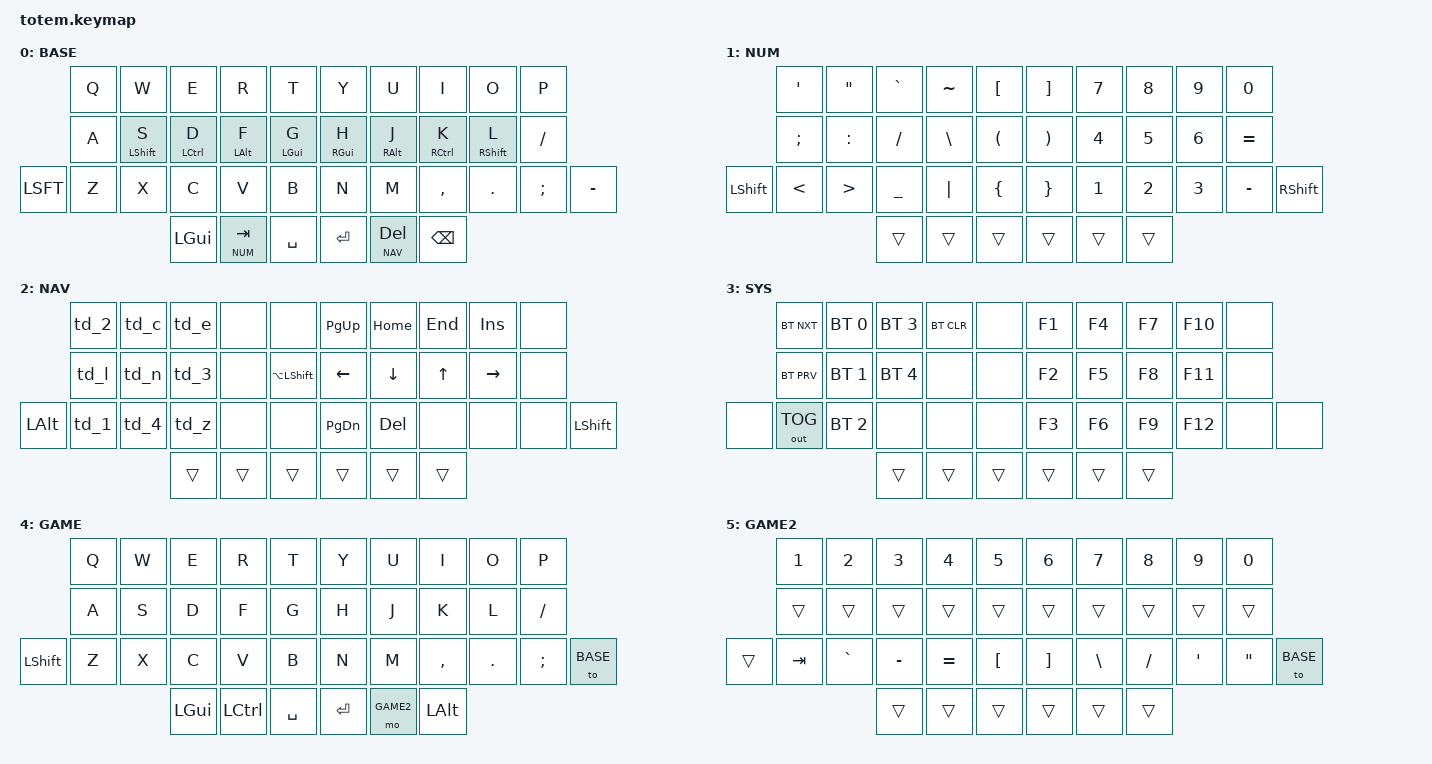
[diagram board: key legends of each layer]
//                                                        ▀▀▀▀▀     ▀▀▀▀▀          ▀▀█▀▀
//                                                        ▄▀▀▀▄  ▄  ▄▀▀▀▄  ▄  ▄▀▀▀▄  █  ▄▀▀▀▄
//                                                        █   █  █  █   █  █  █   █  █  █   █
//                                                         ▀▀▀   █   ▀▀▀   █   ▀▀▀   ▀   ▀▀▀
//                                                               █      ▄▄▄█▄▄▄    █   █  
//                                                               ▀      █  █  █     █▄█
//                                                             ▀▀▀▀▀    █  █  █      ▀
//                                                                      ▀  ▀  ▀
//
// ▄▄▄▄▄▄▄▄▄▄▄▄▄▄▄▄▄▄▄▄▄▄▄▄▄▄▄▄▄▄▄▄▄▄▄▄▄▄▄▄▄▄▄▄▄▄▄▄▄▄▄▄▄▄▄▄▄▄▄▄▄▄▄▄▄▄▄▄▄▄▄▄▄▄▄▄▄▄▄▄▄▄▄▄▄▄▄▄▄▄▄▄▄▄▄▄▄▄▄▄▄▄▄▄▄▄▄▄▄▄▄▄▄▄▄▄▄▄▄▄▄▄▄▄▄▄▄▄▄▄▄▄▄▄▄▄▄▄▄▄▄▄▄▄▄▄▄▄▄

#include <behaviors.dtsi>
#include <dt-bindings/zmk/bt.h>
#include <dt-bindings/zmk/keys.h>
#include <dt-bindings/zmk/modifiers.h>
#include <dt-bindings/zmk/outputs.h>

#define BASE 0
#define NUM  1
#define NAV  2
#define SYS  3
#define GAME 4
#define GAME2 5

#define LEFT_HAND_KEYS  0 1 2 3 4 10 11 12 13 14 20 21 22 23 24 25 32 33 34
#define RIGHT_HAND_KEYS 5 6 7 8 9 15 16 17 18 19 26 27 28 29 30 31 35 36 37
#define SHIFT_MODS (MOD_LSFT|MOD_RSFT)

&mt {
    quick-tap-ms = <100>;
    require-prior-idle-ms = <150>;
    flavor = "tap-preferred";
    tapping-term-ms = <170>;
};

/ {
    behaviors {
        // --- Makros ---

        macss: macss {
            compatible = "zmk,behavior-macro";
            bindings = <&kp RA(N4)>;
            #binding-cells = <0>;
        };

        macae: macae {
            compatible = "zmk,behavior-macro";
            #binding-cells = <0>;
            bindings = <&kp LA(U) &kp A>;
        };

        macaeupper: macaeupper {
            compatible = "zmk,behavior-macro";
            #binding-cells = <0>;
            bindings = <&kp LA(U) &kp LS(A)>;
        };

        macue: macue {
            compatible = "zmk,behavior-macro";
            #binding-cells = <0>;
            bindings = <&kp LA(U) &kp U>;
        };

        macueupper: macueupper {
            compatible = "zmk,behavior-macro";
            #binding-cells = <0>;
            bindings = <&kp LA(U) &kp LS(U)>;
        };

        macoe: macoe {
            compatible = "zmk,behavior-macro";
            #binding-cells = <0>;
            bindings = <&kp LA(U) &kp O>;
        };

        macoeupper: macoeupper {
            compatible = "zmk,behavior-macro";
            #binding-cells = <0>;
            bindings = <&kp LA(U) &kp LS(O)>;
        };

        // Shift-aware special-character outputs.

        mm_pl_a: mod_morph_pl_a {
            compatible = "zmk,behavior-mod-morph";
            #binding-cells = <0>;
            bindings = <&kp RA(A)>, <&kp LS(RA(A))>;
            mods = <SHIFT_MODS>;
        };

        mm_pl_c: mod_morph_pl_c {
            compatible = "zmk,behavior-mod-morph";
            #binding-cells = <0>;
            bindings = <&kp RA(C)>, <&kp LS(RA(C))>;
            mods = <SHIFT_MODS>;
        };

        mm_pl_e: mod_morph_pl_e {
            compatible = "zmk,behavior-mod-morph";
            #binding-cells = <0>;
            bindings = <&kp RA(E)>, <&kp LS(RA(E))>;
            mods = <SHIFT_MODS>;
        };

        mm_pl_l: mod_morph_pl_l {
            compatible = "zmk,behavior-mod-morph";
            #binding-cells = <0>;
            bindings = <&kp RA(L)>, <&kp LS(RA(L))>;
            mods = <SHIFT_MODS>;
        };

        mm_pl_n: mod_morph_pl_n {
            compatible = "zmk,behavior-mod-morph";
            #binding-cells = <0>;
            bindings = <&kp RA(N)>, <&kp LS(RA(N))>;
            mods = <SHIFT_MODS>;
        };

        mm_pl_o: mod_morph_pl_o {
            compatible = "zmk,behavior-mod-morph";
            #binding-cells = <0>;
            bindings = <&kp RA(O)>, <&kp LS(RA(O))>;
            mods = <SHIFT_MODS>;
        };

        mm_pl_s: mod_morph_pl_s {
            compatible = "zmk,behavior-mod-morph";
            #binding-cells = <0>;
            bindings = <&kp RA(S)>, <&kp LS(RA(S))>;
            mods = <SHIFT_MODS>;
        };

        mm_pl_z_dot: mod_morph_pl_z_dot {
            compatible = "zmk,behavior-mod-morph";
            #binding-cells = <0>;
            bindings = <&kp RA(Z)>, <&kp LS(RA(Z))>;
            mods = <SHIFT_MODS>;
        };

        mm_pl_z_acute: mod_morph_pl_z_acute {
            compatible = "zmk,behavior-mod-morph";
            #binding-cells = <0>;
            bindings = <&kp RA(X)>, <&kp LS(RA(X))>;
            mods = <SHIFT_MODS>;
        };

        mm_de_ae: mod_morph_de_ae {
            compatible = "zmk,behavior-mod-morph";
            #binding-cells = <0>;
            bindings = <&macae>, <&macaeupper>;
            mods = <SHIFT_MODS>;
        };

        mm_de_oe: mod_morph_de_oe {
            compatible = "zmk,behavior-mod-morph";
            #binding-cells = <0>;
            bindings = <&macoe>, <&macoeupper>;
            mods = <SHIFT_MODS>;
        };

        mm_de_ue: mod_morph_de_ue {
            compatible = "zmk,behavior-mod-morph";
            #binding-cells = <0>;
            bindings = <&macue>, <&macueupper>;
            mods = <SHIFT_MODS>;
        };

        mm_de_ss: mod_morph_de_ss {
            compatible = "zmk,behavior-mod-morph";
            #binding-cells = <0>;
            bindings = <&macss>, <&macss>;
            mods = <SHIFT_MODS>;
        };


        // --- Tap Dance ---

        td_1: behavior_tap_dance1 {
            compatible = "zmk,behavior-tap-dance";
            tapping-term-ms = <170>;
            #binding-cells = <0>;
            bindings = <&kp S>, <&mm_pl_s>, <&mm_de_ss>;
        };

        td_2: behavior_tap_dance2 {
            compatible = "zmk,behavior-tap-dance";
            tapping-term-ms = <170>;
            bindings = <&kp A>, <&mm_pl_a>, <&mm_de_ae>;

            #binding-cells = <0>;
        };

        td_3: behavior_tap_dance3 {
            compatible = "zmk,behavior-tap-dance";
            tapping-term-ms = <170>;
            bindings = <&kp O>, <&mm_pl_o>, <&mm_de_oe>;

            #binding-cells = <0>;
        };

        td_4: behavior_tap_dance4 {
            compatible = "zmk,behavior-tap-dance";
            tapping-term-ms = <170>;
            bindings = <&kp U>, <&mm_de_ue>;

            #binding-cells = <0>;
        };

        td_c: behavior_tap_dance_c {
            compatible = "zmk,behavior-tap-dance";
            tapping-term-ms = <170>;
            #binding-cells = <0>;
            bindings = <&kp C>, <&mm_pl_c>;
        };

        td_e: behavior_tap_dance_e {
            compatible = "zmk,behavior-tap-dance";
            tapping-term-ms = <170>;
            #binding-cells = <0>;
            bindings = <&kp E>, <&mm_pl_e>;
        };

        td_l: behavior_tap_dance_l {
            compatible = "zmk,behavior-tap-dance";
            tapping-term-ms = <170>;
            #binding-cells = <0>;
            bindings = <&kp L>, <&mm_pl_l>;
        };

        td_n: behavior_tap_dance_n {
            compatible = "zmk,behavior-tap-dance";
            tapping-term-ms = <170>;
            #binding-cells = <0>;
            bindings = <&kp N>, <&mm_pl_n>;
        };

        td_z: behavior_tap_dance_z {
            compatible = "zmk,behavior-tap-dance";
            tapping-term-ms = <170>;
            #binding-cells = <0>;
            bindings = <&kp Z>, <&mm_pl_z_dot>, <&mm_pl_z_acute>;
        };

        hml: homerow_mod_left {
            compatible = "zmk,behavior-hold-tap";
            #binding-cells = <2>;
            quick-tap-ms = <175>;
            require-prior-idle-ms = <150>;
            flavor = "balanced";
            tapping-term-ms = <280>;
            bindings = <&kp>, <&kp>;
            hold-trigger-key-positions = <RIGHT_HAND_KEYS>;
            hold-trigger-on-release;
        };

        hmr: homerow_mod_right {
            compatible = "zmk,behavior-hold-tap";
            #binding-cells = <2>;
            quick-tap-ms = <175>;
            require-prior-idle-ms = <150>;
            flavor = "balanced";
            tapping-term-ms = <280>;
            bindings = <&kp>, <&kp>;
            hold-trigger-key-positions = <LEFT_HAND_KEYS>;
            hold-trigger-on-release;
        };

    };

    combos {
        compatible = "zmk,combos";

        combo_esc {
            timeout-ms = <50>;
            key-positions = <0 1>;
            bindings = <&kp ESC>;
            layers = <BASE GAME>;
        };

        game_toggle {
            timeout-ms = <50>;
            key-positions = <13 14>;
            bindings = <&tog GAME>;
            layers = <SYS>;
        };

        enter {
            bindings = <&kp ENTER>;
            key-positions = <16 17 18>;
        };

        semi {
            bindings = <&kp SEMI>;
            key-positions = <29 28>;
        };

        num {
            bindings = <&mo NUM>;
            key-positions = <23 24>;
        };

    };

    conditional_layers {
        compatible = "zmk,conditional-layers";

        system_layer {
            if-layers = <NUM NAV>;
            then-layer = <SYS>;
        };
    };

    keymap {
        compatible = "zmk,keymap";

        // ▄▄▄▄▄▄▄▄▄▄▄▄▄▄▄▄▄▄▄▄▄▄▄▄▄▄▄▄▄▄▄▄▄▄▄▄▄▄▄▄▄▄▄▄▄▄▄▄▄▄▄▄▄▄▄▄▄▄▄▄▄▄▄▄▄▄▄▄▄▄▄▄▄▄▄▄▄▄▄▄▄▄▄▄▄▄▄▄▄▄▄▄▄▄▄▄▄▄▄▄▄▄▄▄▄▄▄▄▄▄▄▄▄▄▄▄▄▄▄▄▄▄▄▄▄▄▄▄▄▄▄▄▄▄▄▄▄▄▄▄▄▄▄▄▄▄▄▄▄

        base_layer {
            // ┏━━━━━━━━━━━━━━━━━━━━━━━━━━━━━━━━━━━━━━━┓

            label = "BASE";

            // ┗━━━━━━━━━━━━━━━━━━━━━━━━━━━━━━━━━━━━━━━┛
            //             ┏━━━━━━━━━━━┳━━━━━━━━━━━┳━━━━━━━━━━━┳━━━━━━━━━━━┳━━━━━━━━━━━┓   ┏━━━━━━━━━━━┳━━━━━━━━━━━┳━━━━━━━━━━━┳━━━━━━━━━━━┳━━━━━━━━━━━┓
            //             ┃     Q     ┃     W     ┃     E     ┃     R     ┃     T     ┃   ┃     Y     ┃     U     ┃     I     ┃     O     ┃     P     ┃
            //             ┣━━━━━━━━━━━╋━━━━━━━━━━━╋━━━━━━━━━━━╋━━━━━━━━━━━╋━━━━━━━━━━━┫   ┣━━━━━━━━━━━╋━━━━━━━━━━━╋━━━━━━━━━━━╋━━━━━━━━━━━╋━━━━━━━━━━━┫
            //             ┃     A     ┃ (S,LSFT)  ┃(D,LCTL)   ┃ (F,LALT)  ┃ (G,LGUI)  ┃   ┃ (H,RGUI)  ┃ (J,RALT)  ┃ (K,RCTL)  ┃ (L,RSFT)  ┃    /      ┃
            // ┏━━━━━━━━━━━╋━━━━━━━━━━━╋━━━━━━━━━━━╋━━━━━━━━━━━╋━━━━━━━━━━━╋━━━━━━━━━━━┫   ┣━━━━━━━━━━━╋━━━━━━━━━━━╋━━━━━━━━━━━╋━━━━━━━━━━━╋━━━━━━━━━━━╋━━━━━━━━━━━┓
            // ┃   LSFT    ┃     Z     ┃     X     ┃     C     ┃     V     ┃     B     ┃   ┃     N     ┃     M     ┃   COMMA   ┃    DOT    ┃   SEMI    ┃   MINUS   ┃
            // ┗━━━━━━━━━━━┻━━━━━━━━━━━┻━━━━━━━━━━━╋━━━━━━━━━━━╋━━━━━━━━━━━╋━━━━━━━━━━━┫   ┣━━━━━━━━━━━╋━━━━━━━━━━━╋━━━━━━━━━━━╋━━━━━━━━━━━┻━━━━━━━━━━━┻━━━━━━━━━━━┛
            //                                     ┃   LCMD    ┃ (NUM,TAB) ┃   SPACE   ┃   ┃   ENTER   ┃ (NAV,DEL) ┃   BSPC    ┃
            //                                     ┗━━━━━━━━━━━┻━━━━━━━━━━━┻━━━━━━━━━━━┛   ┗━━━━━━━━━━━┻━━━━━━━━━━━┻━━━━━━━━━━━┛

            bindings = <
       &kp Q  &kp W          &kp E         &kp R        &kp T          &kp Y          &kp U          &kp I        &kp O          &kp P
       &kp A  &hml LSHFT S   &hml LCTRL D  &hml LALT F  &hml LGUI G    &hmr RGUI H    &hmr RALT J    &hmr RCTRL K  &hmr RSHFT L   &kp SLASH
&kp LSFT &kp Z  &kp X          &kp C         &kp V        &kp B          &kp N          &kp M          &kp COMMA    &kp DOT        &kp SEMI    &kp MINUS
                            &kp LEFT_GUI    &lt NUM TAB  &kp SPACE      &kp ENTER      &lt NAV DEL    &kp BACKSPACE
            >;
        };

        // ▄▄▄▄▄▄▄▄▄▄▄▄▄▄▄▄▄▄▄▄▄▄▄▄▄▄▄▄▄▄▄▄▄▄▄▄▄▄▄▄▄▄▄▄▄▄▄▄▄▄▄▄▄▄▄▄▄▄▄▄▄▄▄▄▄▄▄▄▄▄▄▄▄▄▄▄▄▄▄▄▄▄▄▄▄▄▄▄▄▄▄▄▄▄▄▄▄▄▄▄▄▄▄▄▄▄▄▄▄▄▄▄▄▄▄▄▄▄▄▄▄▄▄▄▄▄▄▄▄▄▄▄▄▄▄▄▄▄▄▄▄▄▄▄▄▄▄▄▄

        num_layer {
            // ┏━━━━━━━━━━━━━━━━━━━━━━━━━━━━━━━━━━━━━━━┓

            label = "NUM";

            // ┗━━━━━━━━━━━━━━━━━━━━━━━━━━━━━━━━━━━━━━━┛
            //             ┏━━━━━━━━━━━┳━━━━━━━━━━━┳━━━━━━━━━━━┳━━━━━━━━━━━┳━━━━━━━━━━━┓   ┏━━━━━━━━━━━┳━━━━━━━━━━━┳━━━━━━━━━━━┳━━━━━━━━━━━┳━━━━━━━━━━━┓
            //             ┃     '     ┃     "     ┃   GRAVE   ┃   TILDE   ┃   LBKT    ┃   ┃   RBKT    ┃    N7     ┃    N8     ┃    N9     ┃    N0     ┃
            //             ┣━━━━━━━━━━━╋━━━━━━━━━━━╋━━━━━━━━━━━╋━━━━━━━━━━━╋━━━━━━━━━━━┫   ┣━━━━━━━━━━━╋━━━━━━━━━━━╋━━━━━━━━━━━╋━━━━━━━━━━━╋━━━━━━━━━━━┫
            //             ┃   SEMI    ┃   COLON   ┃   SLASH   ┃  BSLASH   ┃   LPAR    ┃   ┃   RPAR    ┃    N4     ┃    N5     ┃    N6     ┃   EQUAL   ┃
            // ┏━━━━━━━━━━━╋━━━━━━━━━━━╋━━━━━━━━━━━╋━━━━━━━━━━━╋━━━━━━━━━━━╋━━━━━━━━━━━┫   ┣━━━━━━━━━━━╋━━━━━━━━━━━╋━━━━━━━━━━━╋━━━━━━━━━━━╋━━━━━━━━━━━╋━━━━━━━━━━━┓
            // ┃   LSFT    ┃    LT     ┃    GT     ┃ UNDERSCORE┃   PIPE    ┃  LBRACE   ┃   ┃  RBRACE   ┃    N1     ┃    N2     ┃    N3     ┃   MINUS   ┃   RSFT    ┃
            // ┗━━━━━━━━━━━┻━━━━━━━━━━━┻━━━━━━━━━━━╋━━━━━━━━━━━╋━━━━━━━━━━━╋━━━━━━━━━━━┫   ┣━━━━━━━━━━━╋━━━━━━━━━━━╋━━━━━━━━━━━╋━━━━━━━━━━━┻━━━━━━━━━━━┻━━━━━━━━━━━┛
            //                                     ┃   TRANS   ┃   TRANS   ┃   TRANS   ┃   ┃   TRANS   ┃   TRANS   ┃   TRANS   ┃
            //                                     ┗━━━━━━━━━━━┻━━━━━━━━━━━┻━━━━━━━━━━━┛   ┗━━━━━━━━━━━┻━━━━━━━━━━━┻━━━━━━━━━━━┛

            bindings = <
       &kp SINGLE_QUOTE  &kp DOUBLE_QUOTES  &kp GRAVE        &kp TILDE      &kp LBKT        &kp RBKT         &kp N7  &kp N8  &kp N9  &kp N0
       &kp SEMI          &kp COLON          &kp SLASH        &kp BACKSLASH  &kp LPAR        &kp RPAR         &kp N4  &kp N5  &kp N6  &kp EQUAL
&kp LEFT_SHIFT  &kp LESS_THAN  &kp GREATER_THAN  &kp UNDERSCORE  &kp PIPE       &kp LEFT_BRACE  &kp RIGHT_BRACE  &kp N1  &kp N2  &kp N3  &kp MINUS  &kp RIGHT_SHIFT
                                             &trans          &trans         &trans          &trans           &trans  &trans
            >;
        };

        // ▄▄▄▄▄▄▄▄▄▄▄▄▄▄▄▄▄▄▄▄▄▄▄▄▄▄▄▄▄▄▄▄▄▄▄▄▄▄▄▄▄▄▄▄▄▄▄▄▄▄▄▄▄▄▄▄▄▄▄▄▄▄▄▄▄▄▄▄▄▄▄▄▄▄▄▄▄▄▄▄▄▄▄▄▄▄▄▄▄▄▄▄▄▄▄▄▄▄▄▄▄▄▄▄▄▄▄▄▄▄▄▄▄▄▄▄▄▄▄▄▄▄▄▄▄▄▄▄▄▄▄▄▄▄▄▄▄▄▄▄▄▄▄▄▄▄▄▄▄

        nav_layer {
            // ┏━━━━━━━━━━━━━━━━━━━━━━━━━━━━━━━━━━━━━━━┓

            label = "NAV";

            // ┗━━━━━━━━━━━━━━━━━━━━━━━━━━━━━━━━━━━━━━━┛
            //             ┏━━━━━━━━━━━┳━━━━━━━━━━━┳━━━━━━━━━━━┳━━━━━━━━━━━┳━━━━━━━━━━━┓   ┏━━━━━━━━━━━┳━━━━━━━━━━━┳━━━━━━━━━━━┳━━━━━━━━━━━┳━━━━━━━━━━━┓
            //             ┃ A(ą/Ą/ä/Ä)┃  C(ć/Ć)   ┃  E(ę/Ę)   ┃   NONE    ┃   NONE    ┃   ┃  PG_UP    ┃   HOME    ┃    END    ┃    INS    ┃   NONE    ┃
            //             ┣━━━━━━━━━━━╋━━━━━━━━━━━╋━━━━━━━━━━━╋━━━━━━━━━━━╋━━━━━━━━━━━┫   ┣━━━━━━━━━━━╋━━━━━━━━━━━╋━━━━━━━━━━━╋━━━━━━━━━━━╋━━━━━━━━━━━┫
            //             ┃  L(ł/Ł)   ┃  N(ń/Ń)   ┃O(ó/Ó/ö/Ö) ┃   NONE    ┃ LALT+LSFT ┃   ┃   LEFT    ┃   DOWN    ┃    UP     ┃   RIGHT   ┃   NONE    ┃
            // ┏━━━━━━━━━━━╋━━━━━━━━━━━╋━━━━━━━━━━━╋━━━━━━━━━━━╋━━━━━━━━━━━╋━━━━━━━━━━━┫   ┣━━━━━━━━━━━╋━━━━━━━━━━━╋━━━━━━━━━━━╋━━━━━━━━━━━╋━━━━━━━━━━━╋━━━━━━━━━━━┓
            // ┃  LEFT_ALT ┃S(ś/Ś/ß)   ┃  U(ü/Ü)   ┃Z(ż/Ż/ź/Ź) ┃   NONE    ┃   NONE    ┃   ┃  PG_DN    ┃    DEL    ┃   NONE    ┃   NONE    ┃   NONE    ┃   LSHFT   ┃
            // ┗━━━━━━━━━━━┻━━━━━━━━━━━┻━━━━━━━━━━━╋━━━━━━━━━━━╋━━━━━━━━━━━╋━━━━━━━━━━━┫   ┣━━━━━━━━━━━╋━━━━━━━━━━━╋━━━━━━━━━━━╋━━━━━━━━━━━┻━━━━━━━━━━━┻━━━━━━━━━━━┛
            //                                     ┃   TRANS   ┃   TRANS   ┃   TRANS   ┃   ┃   TRANS   ┃   TRANS   ┃   TRANS   ┃
            //                                     ┗━━━━━━━━━━━┻━━━━━━━━━━━┻━━━━━━━━━━━┛   ┗━━━━━━━━━━━┻━━━━━━━━━━━┻━━━━━━━━━━━┛

            bindings = <
              &td_2  &td_c   &td_e         &none    &none            &kp PG_UP  &kp HOME        &kp END       &kp INS    &none
              &td_l  &td_n   &td_3         &none    &kp LA(LSHFT)    &kp LEFT   &kp DOWN_ARROW  &kp UP_ARROW  &kp RIGHT  &none
&kp LEFT_ALT  &td_1  &td_4   &td_z         &none    &none            &kp PG_DN  &kp DEL         &none         &none      &none  &kp LEFT_SHIFT
                             &trans        &trans   &trans           &trans     &trans          &trans
            >;
        };

        // ▄▄▄▄▄▄▄▄▄▄▄▄▄▄▄▄▄▄▄▄▄▄▄▄▄▄▄▄▄▄▄▄▄▄▄▄▄▄▄▄▄▄▄▄▄▄▄▄▄▄▄▄▄▄▄▄▄▄▄▄▄▄▄▄▄▄▄▄▄▄▄▄▄▄▄▄▄▄▄▄▄▄▄▄▄▄▄▄▄▄▄▄▄▄▄▄▄▄▄▄▄▄▄▄▄▄▄▄▄▄▄▄▄▄▄▄▄▄▄▄▄▄▄▄▄▄▄▄▄▄▄▄▄▄▄▄▄▄▄▄▄▄▄▄▄▄▄▄▄

        sys_layer {
            // ┏━━━━━━━━━━━━━━━━━━━━━━━━━━━━━━━━━━━━━━━┓

            label = "SYS";

            // ┗━━━━━━━━━━━━━━━━━━━━━━━━━━━━━━━━━━━━━━━┛
            //             ┏━━━━━━━━━━━┳━━━━━━━━━━━┳━━━━━━━━━━━┳━━━━━━━━━━━┳━━━━━━━━━━━┓   ┏━━━━━━━━━━━┳━━━━━━━━━━━┳━━━━━━━━━━━┳━━━━━━━━━━━┳━━━━━━━━━━━┓
            //             ┃  BT_NXT   ┃ BT_SEL 0  ┃ BT_SEL 3  ┃  BT_CLR   ┃   NONE    ┃   ┃    F1     ┃    F4     ┃    F7     ┃   F10     ┃   NONE    ┃
            //             ┣━━━━━━━━━━━╋━━━━━━━━━━━╋━━━━━━━━━━━╋━━━━━━━━━━━╋━━━━━━━━━━━┫   ┣━━━━━━━━━━━╋━━━━━━━━━━━╋━━━━━━━━━━━╋━━━━━━━━━━━╋━━━━━━━━━━━┫
            //             ┃  BT_PRV   ┃ BT_SEL 1  ┃ BT_SEL 4  ┃   NONE    ┃   NONE    ┃   ┃    F2     ┃    F5     ┃    F8     ┃   F11     ┃   NONE    ┃
            // ┏━━━━━━━━━━━╋━━━━━━━━━━━╋━━━━━━━━━━━╋━━━━━━━━━━━╋━━━━━━━━━━━╋━━━━━━━━━━━┫   ┣━━━━━━━━━━━╋━━━━━━━━━━━╋━━━━━━━━━━━╋━━━━━━━━━━━╋━━━━━━━━━━━╋━━━━━━━━━━━┓
            // ┃   NONE    ┃  OUT_TOG  ┃ BT_SEL 2  ┃   NONE    ┃   NONE    ┃   NONE    ┃   ┃    F3     ┃    F6     ┃    F9     ┃   F12     ┃   NONE    ┃   NONE    ┃
            // ┗━━━━━━━━━━━┻━━━━━━━━━━━┻━━━━━━━━━━━╋━━━━━━━━━━━╋━━━━━━━━━━━╋━━━━━━━━━━━┫   ┣━━━━━━━━━━━╋━━━━━━━━━━━╋━━━━━━━━━━━╋━━━━━━━━━━━┻━━━━━━━━━━━┻━━━━━━━━━━━┛
            //                                     ┃   TRANS   ┃   TRANS   ┃   TRANS   ┃   ┃   TRANS   ┃   TRANS   ┃   TRANS   ┃
            //                                     ┗━━━━━━━━━━━┻━━━━━━━━━━━┻━━━━━━━━━━━┛   ┗━━━━━━━━━━━┻━━━━━━━━━━━┻━━━━━━━━━━━┛

            bindings = <
       &bt BT_NXT    &bt BT_SEL 0  &bt BT_SEL 3  &bt BT_CLR  &none    &kp F1  &kp F4  &kp F7  &kp F10  &none
       &bt BT_PRV    &bt BT_SEL 1  &bt BT_SEL 4  &none       &none    &kp F2  &kp F5  &kp F8  &kp F11  &none
&none  &out OUT_TOG  &bt BT_SEL 2  &none         &none       &none    &kp F3  &kp F6  &kp F9  &kp F12  &none  &none
                                   &trans        &trans      &trans   &trans  &trans  &trans
            >;
        };

        // ▄▄▄▄▄▄▄▄▄▄▄▄▄▄▄▄▄▄▄▄▄▄▄▄▄▄▄▄▄▄▄▄▄▄▄▄▄▄▄▄▄▄▄▄▄▄▄▄▄▄▄▄▄▄▄▄▄▄▄▄▄▄▄▄▄▄▄▄▄▄▄▄▄▄▄▄▄▄▄▄▄▄▄▄▄▄▄▄▄▄▄▄▄▄▄▄▄▄▄▄▄▄▄▄▄▄▄▄▄▄▄▄▄▄▄▄▄▄▄▄▄▄▄▄▄▄▄▄▄▄▄▄▄▄▄▄▄▄▄▄▄▄▄▄▄▄▄▄▄

        game_layer {
            label = "GAME";

            bindings = <
       &kp Q           &kp W      &kp E     &kp R      &kp T        &kp Y      &kp U        &kp I        &kp O     &kp P
       &kp A           &kp S      &kp D     &kp F      &kp G        &kp H      &kp J        &kp K        &kp L     &kp SLASH
 &kp LEFT_SHIFT        &kp Z      &kp X     &kp C      &kp V        &kp B      &kp N        &kp M        &kp COMMA &kp DOT  &kp SEMI &to BASE
                                           &kp LEFT_GUI  &kp LCTRL  &kp SPACE  &kp ENTER    &mo GAME2   &kp LEFT_ALT
            >;
        };

        // ▄▄▄▄▄▄▄▄▄▄▄▄▄▄▄▄▄▄▄▄▄▄▄▄▄▄▄▄▄▄▄▄▄▄▄▄▄▄▄▄▄▄▄▄▄▄▄▄▄▄▄▄▄▄▄▄▄▄▄▄▄▄▄▄▄▄▄▄▄▄▄▄▄▄▄▄▄▄▄▄▄▄▄▄▄▄▄▄▄▄▄▄▄▄▄▄▄▄▄▄▄▄▄▄▄▄▄▄▄▄▄▄▄▄▄▄▄▄▄▄▄▄▄▄▄▄▄▄▄▄▄▄▄▄▄▄▄▄▄▄▄▄▄▄▄▄▄▄▄

        game2_layer {
            label = "GAME2";

            bindings = <
       &kp N1           &kp N2      &kp N3      &kp N4      &kp N5          &kp N6           &kp N7         &kp N8              &kp N9          &kp N0
       &trans           &trans      &trans      &trans      &trans          &trans           &trans         &trans              &trans          &trans
 &trans                 &kp TAB     &kp GRAVE   &kp MINUS   &kp EQUAL       &kp LBKT         &kp RBKT       &kp BACKSLASH       &kp SLASH       &kp SINGLE_QUOTE  &kp DOUBLE_QUOTES  &to BASE
                                               &trans       &trans           &trans          &trans         &trans              &trans
            >;
        };
    };
};
